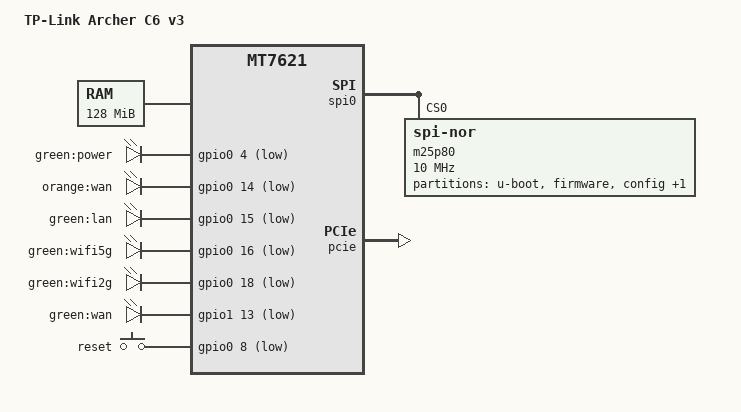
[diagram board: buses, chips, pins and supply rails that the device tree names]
/dts-v1/;

#include "mt7621.dtsi"

#include <dt-bindings/gpio/gpio.h>
#include <dt-bindings/input/input.h>

/ {
	compatible = "tplink,c6-v3", "mediatek,mt7621-soc";
	model = "TP-Link Archer C6 v3";

	aliases {
		led-boot = &led_power;
		led-failsafe = &led_power;
		led-running = &led_power;
		led-upgrade = &led_power;
	};

	memory@0 {
		device_type = "memory";
		reg = <0x0 0x8000000>;
	};

	chosen {
		bootargs = "console=ttyS0,115200";
	};

	leds {
		compatible = "gpio-leds";

		led_power: power {
			label = "green:power";
			gpios = <&gpio0 4 GPIO_ACTIVE_LOW>;
		};

		wan_orange {
			label = "orange:wan";
			gpios = <&gpio0 14 GPIO_ACTIVE_LOW>;
		};

		lan {
			label = "green:lan";
			gpios = <&gpio0 15 GPIO_ACTIVE_LOW>;
		};

		wifi5g {
			label = "green:wifi5g";
			gpios = <&gpio0 16 GPIO_ACTIVE_LOW>;
		};

		wifi2g {
			label = "green:wifi2g";
			gpios = <&gpio0 18 GPIO_ACTIVE_LOW>;
		};

		wan_green {
			label = "green:wan";
			gpios = <&gpio1 13 GPIO_ACTIVE_LOW>;
		};
	};

	keys {
		compatible = "gpio-keys-polled";
		poll-interval = <20>;

		reset {
			label = "reset";
			gpios = <&gpio0 8 GPIO_ACTIVE_LOW>;
			debounce-interval = <60>;
			linux,code = <KEY_RESTART>;
		};
	};
};

&spi0 {
	status = "okay";

	m25p80@0 {
		compatible = "jedec,spi-nor";
		reg = <0>;
		spi-max-frequency = <10000000>;

		partitions {
			compatible = "fixed-partitions";
			#address-cells = <1>;
			#size-cells = <1>;

			partition@0 {
				label = "u-boot";
				reg = <0x0 0x40000>;
				read-only;
			};

			partition@40000 {
				label = "firmware";
				compatible = "denx,uimage";
				reg = <0x40000 0xf60000>;
			};

			config: partition@fa0000 {
				label = "config";
				reg = <0xfa0000 0x50000>;
				read-only;
			};

			radio: partition@ff0000 {
				label = "radio";
				reg = <0xff0000 0x10000>;
				read-only;
			};

		};
	};
};

&pcie {
	status = "okay";
};

&pinctrl {
	state_default: pinctrl0 {
		gpio {
			ralink,group = "i2c", "uart2", "uart3", "jtag", "wdt";
			ralink,function = "gpio";
		};
	};
};
